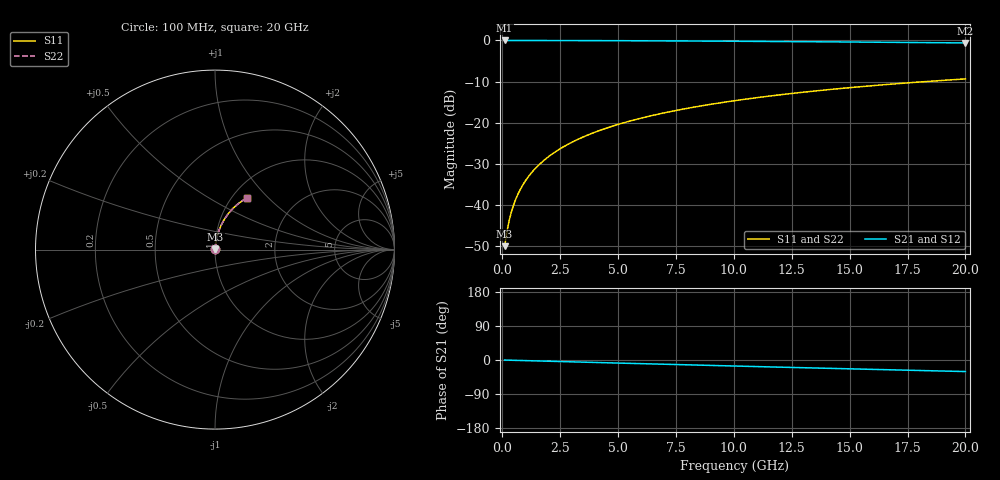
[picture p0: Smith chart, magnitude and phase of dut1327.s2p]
! Touchstone file exported from HFSS 2026.1.0
!  File:  C:/ffzhzh/LocalFiles/Ansys_Project_Files/temp_train_TMRDL_1327_1783165116_22436.aedt
!  Generated:  07:39:50 PM Jul  4, 2026
!  Design:  TMRDL
!  Project:  temp_train_TMRDL_1327_1783165116_22436
! Variables:
!  h_bsmrdl = 2um
!  h_ox = 20um
!  h_rdl = 5um
!  h_sub = 80um
!  h_tmrdl = 3.9um
!  h_tsv = 80um
!  h_via = 3um
!  l_bsmrdl = 300um
!  l_sub = 785.89um
!  l_tmrdl = 385.89um
!  m_sub = 200um
!  pitch = 47.44um
!  r_tsv = 6um
!  s_tmrdl = 10um
!  w_bsmrdl = 18um
!  w_sub = 500um
!  w_tmrdl = 15.12um
!  x_tsv_center1 = 393.45um
!  x_tsv_center2 = 711.45um
!  x_tsv_center3 = 1112.46um
!  x_tsv_center4 = 1430.46um
!  x_tsv_center5 = 1831.47um
!  x_tsv_center6 = 2149.47um
# GHz S MA R 50.000000
! Terminal data exported
! Port[1] = TM_RDL1_1_T1
! Port[2] = TM_RDL1_1_T2
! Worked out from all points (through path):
!   200 points, 100 MHz to 20 GHz, reference 50 ohm
!   highest |S21| = -0.02 dB at 100 MHz (marker M1); lowest = -0.6 dB at 20 GHz (marker M2)
!   group delay of S21, straight-line fit = 4.24 ps
!   lowest |S11| = -49.9 dB at 100 MHz (marker M3), VSWR 1.01, Z = 50.2 + j0.204 ohm
!   |S11| at or under -10 dB: start of sweep to 18.28 GHz
!   |S22| runs from -49.9 to -9.4 dB; largest |S21 - S12| = 2.2e-15
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0.1  0.003186 39.7  0.9976 -0.2  0.9976 -0.2  0.003186 39.7
! Gamma 0 0 0 0
! Port Impedance 50 0 50 0
0.2  0.004767 58.0  0.9975 -0.3  0.9975 -0.3  0.004767 58.0
0.3  0.006567 66.4  0.9974 -0.5  0.9974 -0.5  0.006567 66.4
0.4  0.008424 71.0  0.9973 -0.7  0.9973 -0.7  0.008424 71.0
0.5  0.0103 73.9  0.9972 -0.8  0.9972 -0.8  0.0103 73.9
0.6  0.01218 75.9  0.9972 -1.0  0.9972 -1.0  0.01218 75.9
0.8  0.01597 78.4  0.997 -1.3  0.997 -1.3  0.01597 78.4
1.1  0.02168 80.4  0.9969 -1.8  0.9969 -1.8  0.02168 80.4
1.5  0.02933 81.6  0.9966 -2.5  0.9966 -2.5  0.02933 81.6
1.8  0.03507 82.0  0.9963 -2.9  0.9963 -2.9  0.03507 82.0
2.1  0.04081 82.1  0.996 -3.4  0.996 -3.4  0.04081 82.1
2.7  0.05227 81.9  0.9952 -4.4  0.9952 -4.4  0.05227 81.9
3.5  0.06745 81.2  0.994 -5.7  0.994 -5.7  0.06745 81.2
4.2  0.08063 80.3  0.9927 -6.8  0.9927 -6.8  0.08064 80.3
5  0.09556 79.3  0.991 -8.1  0.991 -8.1  0.09556 79.3
5.9  0.1121 78.0  0.9889 -9.5  0.9889 -9.5  0.1121 78.0
6.8  0.1285 76.7  0.9865 -10.9  0.9865 -10.9  0.1285 76.7
8.3  0.1553 74.5  0.982 -13.3  0.982 -13.3  0.1553 74.5
10.1  0.1866 71.9  0.9758 -16.0  0.9758 -16.0  0.1866 71.9
13.4  0.2415 67.2  0.9627 -21.0  0.9627 -21.0  0.2415 67.2
16.7  0.293 62.5  0.9477 -25.8  0.9477 -25.8  0.293 62.5
20  0.3406 58.0  0.9312 -30.5  0.9312 -30.5  0.3406 58.0
